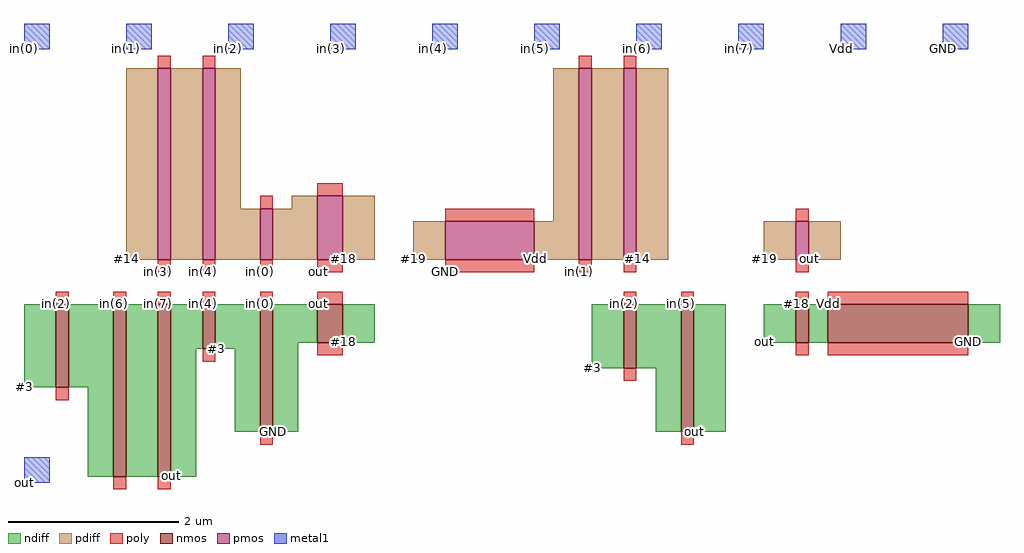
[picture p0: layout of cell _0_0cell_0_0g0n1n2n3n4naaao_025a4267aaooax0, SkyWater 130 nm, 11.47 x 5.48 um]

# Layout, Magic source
magic
tech sky130A
magscale 1 2
<< nmos >>
rect 195 285 225 480
rect 330 75 360 480
rect 435 75 465 480
rect 540 375 570 480
rect 675 180 705 480
rect 810 390 870 480
rect 1530 330 1560 480
rect 1665 180 1695 480
rect 1935 390 1965 480
rect 2010 390 2340 480
<< pmos >>
rect 435 585 465 1035
rect 540 585 570 1035
rect 675 585 705 705
rect 810 585 870 735
rect 1110 585 1320 675
rect 1425 585 1455 1035
rect 1530 585 1560 1035
rect 1935 585 1965 675
<< ndiff >>
rect 120 285 195 480
rect 225 285 330 480
rect 270 75 330 285
rect 360 75 435 480
rect 465 375 540 480
rect 570 375 675 480
rect 465 75 525 375
rect 615 180 675 375
rect 705 390 810 480
rect 870 390 945 480
rect 705 180 765 390
rect 1455 330 1530 480
rect 1560 330 1665 480
rect 1605 180 1665 330
rect 1695 180 1770 480
rect 1860 390 1935 480
rect 1965 390 2010 480
rect 2340 390 2415 480
<< pdiff >>
rect 360 585 435 1035
rect 465 585 540 1035
rect 570 705 630 1035
rect 750 705 810 735
rect 570 585 675 705
rect 705 585 810 705
rect 870 585 945 735
rect 1365 675 1425 1035
rect 1035 585 1110 675
rect 1320 585 1425 675
rect 1455 585 1530 1035
rect 1560 585 1635 1035
rect 1860 585 1935 675
rect 1965 585 2040 675
<< poly >>
rect 435 1035 465 1065
rect 540 1035 570 1065
rect 1425 1035 1455 1065
rect 1530 1035 1560 1065
rect 810 735 870 765
rect 675 705 705 735
rect 1110 675 1320 705
rect 1935 675 1965 705
rect 435 555 465 585
rect 540 555 570 585
rect 675 555 705 585
rect 810 555 870 585
rect 1110 555 1320 585
rect 1425 555 1455 585
rect 1530 555 1560 585
rect 1935 555 1965 585
rect 195 480 225 510
rect 330 480 360 510
rect 435 480 465 510
rect 540 480 570 510
rect 675 480 705 510
rect 810 480 870 510
rect 1530 480 1560 510
rect 1665 480 1695 510
rect 1935 480 1965 510
rect 2010 480 2340 510
rect 195 255 225 285
rect 540 345 570 375
rect 810 360 870 390
rect 1530 300 1560 330
rect 1935 360 1965 390
rect 2010 360 2340 390
rect 675 150 705 180
rect 1665 150 1695 180
rect 330 45 360 75
rect 435 45 465 75
<< metal1 >>
rect 120 1080 180 1140
rect 360 1080 420 1140
rect 600 1080 660 1140
rect 840 1080 900 1140
rect 1080 1080 1140 1140
rect 1320 1080 1380 1140
rect 1560 1080 1620 1140
rect 1800 1080 1860 1140
rect 2040 1080 2100 1140
rect 2280 1080 2340 1140
rect 120 60 180 120
<< labels >>
rlabel poly 812 482 812 482 3 out
rlabel poly 812 557 812 557 3 out
rlabel pdiff 872 587 872 587 3 #18
rlabel ndiff 872 392 872 392 3 #18
rlabel poly 677 482 677 482 3 in(0)
rlabel poly 677 557 677 557 3 in(0)
rlabel pdiff 707 587 707 587 3 Vdd
rlabel ndiff 707 182 707 182 3 GND
rlabel ndiff 572 377 572 377 3 #3
rlabel poly 542 482 542 482 3 in(4)
rlabel poly 542 557 542 557 3 in(4)
rlabel pdiff 572 587 572 587 3 out
rlabel ndiff 467 77 467 77 3 out
rlabel poly 437 482 437 482 3 in(7)
rlabel poly 437 557 437 557 3 in(3)
rlabel pdiff 362 587 362 587 3 #14
rlabel poly 332 482 332 482 3 in(6)
rlabel poly 197 482 197 482 3 in(2)
rlabel ndiff 122 287 122 287 3 #3
rlabel pdiff 1562 587 1562 587 3 #14
rlabel ndiff 1697 182 1697 182 3 out
rlabel poly 1667 482 1667 482 3 in(5)
rlabel poly 1532 557 1532 557 3 in(2)
rlabel poly 1532 482 1532 482 3 in(2)
rlabel poly 1427 557 1427 557 3 in(1)
rlabel ndiff 1457 332 1457 332 3 #3
rlabel pdiff 1322 587 1322 587 3 Vdd
rlabel poly 1112 557 1112 557 3 GND
rlabel pdiff 1037 587 1037 587 3 #19
rlabel ndiff 2342 392 2342 392 3 GND
rlabel poly 2012 482 2012 482 3 Vdd
rlabel pdiff 1967 587 1967 587 3 out
rlabel poly 1937 482 1937 482 3 #18
rlabel poly 1937 557 1937 557 3 #18
rlabel ndiff 1862 392 1862 392 3 out
rlabel pdiff 1862 587 1862 587 3 #19
rlabel metal1 2282 1082 2282 1082 3 GND
port 1 e
rlabel metal1 2042 1082 2042 1082 3 Vdd
port 2 e
rlabel metal1 1802 1082 1802 1082 3 in(7)
port 3 e
rlabel metal1 1562 1082 1562 1082 3 in(6)
port 4 e
rlabel metal1 1322 1082 1322 1082 3 in(5)
port 5 e
rlabel metal1 1082 1082 1082 1082 3 in(4)
port 6 e
rlabel metal1 842 1082 842 1082 3 in(3)
port 7 e
rlabel metal1 602 1082 602 1082 3 in(2)
port 8 e
rlabel metal1 362 1082 362 1082 3 in(1)
port 9 e
rlabel metal1 122 62 122 62 3 out
port 10 e
rlabel metal1 122 1082 122 1082 3 in(0)
port 11 e
<< end >>
